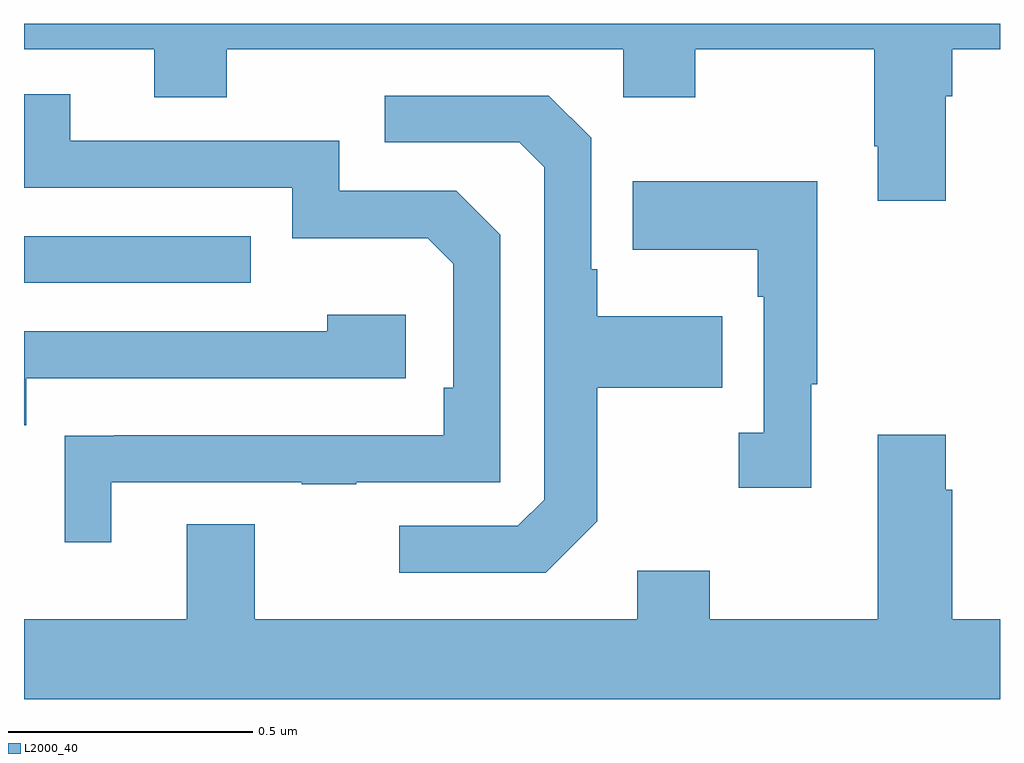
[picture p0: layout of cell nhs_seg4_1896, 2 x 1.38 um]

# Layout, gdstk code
import gdstk
lib = gdstk.Library(unit=1e-6, precision=1e-09)
def R(c, l, rs):  # rectangles x0, y0, x1, y1
    for r in rs: c.add(gdstk.rectangle(r[:2], r[2:], *l))
def P(c, l, *ps):  # polygons
    for p in ps: c.add(gdstk.Polygon(p, *l))
L2000_40 = (2000, 40)

nhs_seg4_1896 = lib.new_cell('nhs_seg4_1896')
R(nhs_seg4_1896, L2000_40, [(134,768.369,134.465,768.465)])
P(nhs_seg4_1896, L2000_40, [(135.889,768.752),(135.902,768.752),(135.902,768.848),(136,768.848),(136,768.9),(134,768.9),(134,768.848),(134.267,768.848),(134.267,768.749),(134.415,768.749),(134.415,768.848),(135.228,768.848),(135.228,768.749),(135.375,768.749),(135.375,768.848),(135.742,768.848),(135.742,768.649),(135.749,768.649),(135.749,768.537),(135.889,768.537)],
  [(134.179,767.961),(134.569,767.961),(134.569,767.956),(134.681,767.956),(134.681,767.961),(134.976,767.961),(134.976,768.468),(134.886,768.558),(134.646,768.558),(134.646,768.66),(134.095,768.66),(134.095,768.756),(134,768.756),(134,768.564),(134.55,768.564),(134.55,768.461),(134.827,768.461),(134.88,768.408),(134.88,768.154),(134.86,768.154),(134.86,768.057),(134.185,768.057),(134.185,768.056),(134.083,768.056),(134.083,767.838),(134.179,767.838)],
  [(135.175,767.881),(135.175,768.154),(135.431,768.154),(135.431,768.301),(135.175,768.301),(135.175,768.397),(135.162,768.397),(135.162,768.666),(135.075,768.753),(134.739,768.753),(134.739,768.657),(135.015,768.657),(135.066,768.606),(135.066,767.925),(135.012,767.871),(134.769,767.871),(134.769,767.775),(135.069,767.775)],
  [(135.613,768.161),(135.625,768.161),(135.625,768.577),(135.247,768.577),(135.247,768.437),(135.504,768.437),(135.504,768.341),(135.516,768.341),(135.516,768.062),(135.465,768.062),(135.465,767.949),(135.613,767.949)],
  [(134.005,768.174),(134.782,768.174),(134.782,768.304),(134.621,768.304),(134.621,768.27),(134,768.27),(134,768.077),(134.005,768.077)],
  [(136,767.68),(135.902,767.68),(135.902,767.945),(135.889,767.945),(135.889,768.058),(135.749,768.058),(135.749,767.68),(135.405,767.68),(135.405,767.779),(135.257,767.779),(135.257,767.68),(134.473,767.68),(134.473,767.875),(134.333,767.875),(134.333,767.68),(134,767.68),(134,767.516),(136,767.516)])

lib.write_gds('nhs_seg4_1896.gds')
